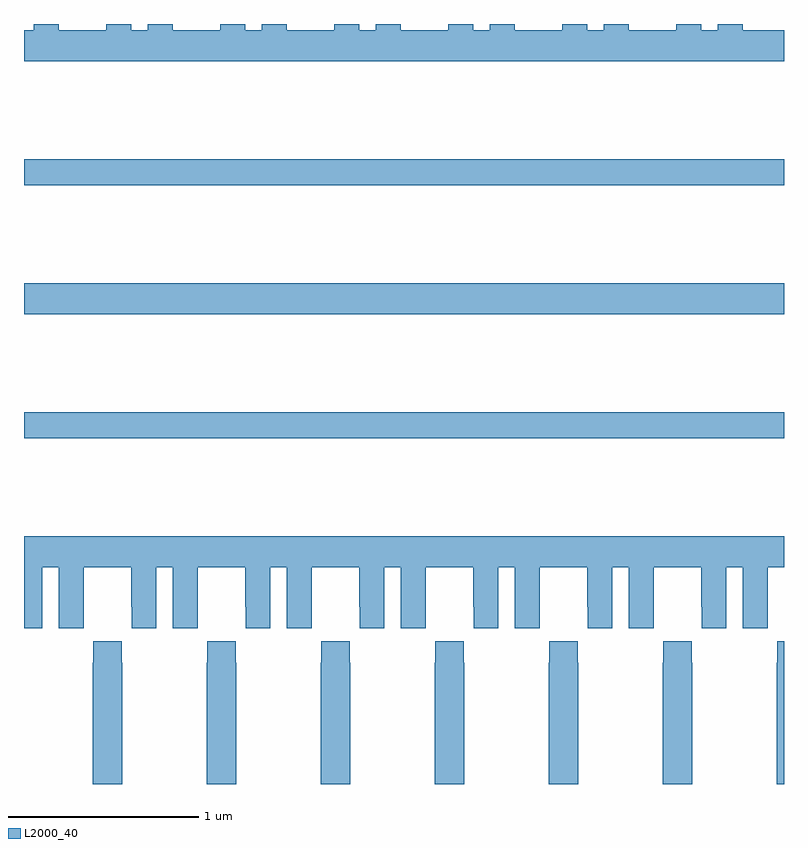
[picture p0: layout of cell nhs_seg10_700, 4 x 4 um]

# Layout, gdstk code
import gdstk
lib = gdstk.Library(unit=1e-6, precision=1e-09)
def R(c, l, rs):  # rectangles x0, y0, x1, y1
    for r in rs: c.add(gdstk.rectangle(r[:2], r[2:], *l))
def P(c, l, *ps):  # polygons
    for p in ps: c.add(gdstk.Polygon(p, *l))
L2000_40 = (2000, 40)

nhs_seg10_700 = lib.new_cell('nhs_seg10_700')
R(nhs_seg10_700, L2000_40, [(145,1310.32,149,1310.456), (145,1310.972,149,1311.136), (145,1311.652,149,1311.788)])
P(nhs_seg10_700, L2000_40, [(147.833,1312.5),(147.833,1312.468),(147.583,1312.468),(147.583,1312.5),(147.452,1312.5),(147.452,1312.468),(147.364,1312.468),(147.364,1312.5),(147.233,1312.5),(147.233,1312.468),(146.983,1312.468),(146.983,1312.5),(146.852,1312.5),(146.852,1312.468),(146.764,1312.468),(146.764,1312.5),(146.633,1312.5),(146.633,1312.468),(146.383,1312.468),(146.383,1312.5),(146.252,1312.5),(146.252,1312.468),(146.164,1312.468),(146.164,1312.5),(146.033,1312.5),(146.033,1312.468),(145.783,1312.468),(145.783,1312.5),(145.652,1312.5),(145.652,1312.468),(145.564,1312.468),(145.564,1312.5),(145.433,1312.5),(145.433,1312.468),(145.183,1312.468),(145.183,1312.5),(145.052,1312.5),(145.052,1312.468),(145,1312.468),(145,1312.304),(149,1312.304),(149,1312.468),(148.783,1312.468),(148.783,1312.5),(148.652,1312.5),(148.652,1312.468),(148.564,1312.468),(148.564,1312.5),(148.433,1312.5),(148.433,1312.468),(148.183,1312.468),(148.183,1312.5),(148.052,1312.5),(148.052,1312.468),(147.964,1312.468),(147.964,1312.5)],
  [(145,1309.32),(145.096,1309.32),(145.096,1309.64),(145.184,1309.64),(145.184,1309.32),(145.314,1309.32),(145.314,1309.432),(145.315,1309.432),(145.315,1309.64),(145.565,1309.64),(145.565,1309.432),(145.566,1309.432),(145.566,1309.32),(145.696,1309.32),(145.696,1309.64),(145.784,1309.64),(145.784,1309.32),(145.914,1309.32),(145.914,1309.432),(145.915,1309.432),(145.915,1309.64),(146.165,1309.64),(146.165,1309.432),(146.166,1309.432),(146.166,1309.32),(146.296,1309.32),(146.296,1309.64),(146.384,1309.64),(146.384,1309.32),(146.514,1309.32),(146.514,1309.432),(146.515,1309.432),(146.515,1309.64),(146.765,1309.64),(146.765,1309.432),(146.766,1309.432),(146.766,1309.32),(146.896,1309.32),(146.896,1309.64),(146.984,1309.64),(146.984,1309.32),(147.114,1309.32),(147.114,1309.432),(147.115,1309.432),(147.115,1309.64),(147.365,1309.64),(147.365,1309.432),(147.366,1309.432),(147.366,1309.32),(147.496,1309.32),(147.496,1309.64),(147.584,1309.64),(147.584,1309.32),(147.714,1309.32),(147.714,1309.432),(147.715,1309.432),(147.715,1309.64),(147.965,1309.64),(147.965,1309.432),(147.966,1309.432),(147.966,1309.32),(148.096,1309.32),(148.096,1309.64),(148.184,1309.64),(148.184,1309.32),(148.314,1309.32),(148.314,1309.432),(148.315,1309.432),(148.315,1309.64),(148.565,1309.64),(148.565,1309.432),(148.566,1309.432),(148.566,1309.32),(148.696,1309.32),(148.696,1309.64),(148.784,1309.64),(148.784,1309.32),(148.914,1309.32),(148.914,1309.432),(148.915,1309.432),(148.915,1309.64),(149,1309.64),(149,1309.804),(145,1309.804)],
  [(147.318,1309.139),(147.315,1309.139),(147.315,1309.252),(147.165,1309.252),(147.165,1309.139),(147.163,1309.139),(147.163,1308.5),(147.318,1308.5)],
  [(146.718,1309.139),(146.715,1309.139),(146.715,1309.252),(146.565,1309.252),(146.565,1309.139),(146.563,1309.139),(146.563,1308.5),(146.718,1308.5)],
  [(146.118,1309.139),(146.115,1309.139),(146.115,1309.252),(145.965,1309.252),(145.965,1309.139),(145.963,1309.139),(145.963,1308.5),(146.118,1308.5)],
  [(145.518,1309.139),(145.515,1309.139),(145.515,1309.252),(145.365,1309.252),(145.365,1309.139),(145.363,1309.139),(145.363,1308.5),(145.518,1308.5)],
  [(149,1309.252),(148.965,1309.252),(148.965,1309.139),(148.963,1309.139),(148.963,1308.5),(149,1308.5)],
  [(148.518,1309.139),(148.515,1309.139),(148.515,1309.252),(148.365,1309.252),(148.365,1309.139),(148.363,1309.139),(148.363,1308.5),(148.518,1308.5)],
  [(147.765,1309.252),(147.765,1309.139),(147.763,1309.139),(147.763,1308.5),(147.918,1308.5),(147.918,1309.139),(147.915,1309.139),(147.915,1309.252)])

lib.write_gds('nhs_seg10_700.gds')
